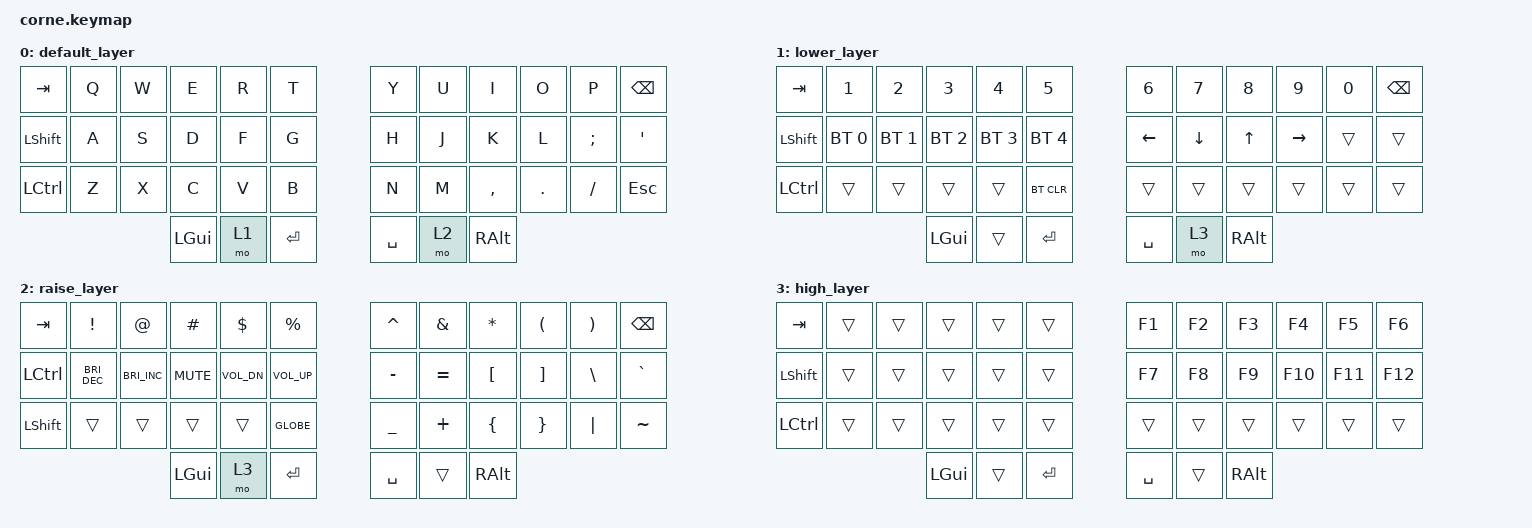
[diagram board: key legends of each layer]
/*
 * Copyright (c) 2020 The ZMK Contributors
 *
 * SPDX-License-Identifier: MIT
 */

#include <behaviors.dtsi>
#include <dt-bindings/zmk/bt.h>
#include <dt-bindings/zmk/keys.h>

/ {
    keymap {
        compatible = "zmk,keymap";

        default_layer {
            // -----------------------------------------------------------------------------------------
            // |  TAB |  Q  |  W  |  E  |  R  |  T  |   |  Y  |  U   |  I  |  O  |  P  | BKSP |
            // | CTRL |  A  |  S  |  D  |  F  |  G  |   |  H  |  J   |  K  |  L  |  ;  |  '   |
            // | SHFT |  Z  |  X  |  C  |  V  |  B  |   |  N  |  M   |  ,  |  .  |  /  | ESC  |
            //                    | GUI | LWR | SPC |   | ENT | RSE  | ALT |

            bindings = <
&kp TAB    &kp Q  &kp W  &kp E     &kp R  &kp T        &kp Y      &kp U  &kp I      &kp O    &kp P     &kp BSPC
&kp LSHFT  &kp A  &kp S  &kp D     &kp F  &kp G        &kp H      &kp J  &kp K      &kp L    &kp SEMI  &kp SQT
&kp LCTRL  &kp Z  &kp X  &kp C     &kp V  &kp B        &kp N      &kp M  &kp COMMA  &kp DOT  &kp FSLH  &kp ESC
                         &kp LGUI  &mo 1  &kp ENTER    &kp SPACE  &mo 2  &kp RALT
            >;
        };

        lower_layer {
            // -----------------------------------------------------------------------------------------
            // |  TAB |  1  |  2  |  3  |  4  |  5  |   |  6  |  7  |  8  |  9  |  0  | BKSP |
            // | BTCLR| BT1 | BT2 | BT3 | BT4 | BT5 |   | LFT | DWN |  UP | RGT |     |      |
            // | SHFT |     |     |     |     |     |   |     |     |     |     |     |      |
            //                    | GUI |     | SPC |   | ENT |     | ALT |

            bindings = <
&kp TAB    &kp N1        &kp N2        &kp N3        &kp N4        &kp N5          &kp N6     &kp N7    &kp N8    &kp N9     &kp N0  &kp BSPC
&kp LSHFT  &bt BT_SEL 0  &bt BT_SEL 1  &bt BT_SEL 2  &bt BT_SEL 3  &bt BT_SEL 4    &kp LEFT   &kp DOWN  &kp UP    &kp RIGHT  &trans  &trans
&kp LCTRL  &trans        &trans        &trans        &trans        &bt BT_CLR      &trans     &trans    &trans    &trans     &trans  &trans
                                       &kp LGUI      &trans        &kp ENTER       &kp SPACE  &mo 3     &kp RALT
            >;
        };

        raise_layer {
            // -----------------------------------------------------------------------------------------
            // |  TAB |  !  |  @  |  #  |  $  |  %  |   |  ^  |  &  |  *  |  (  |  )  | BKSP |
            // | CTRL |     |     |     |     |     |   |  -  |  =  |  [  |  ]  |  \  |  `   |
            // | SHFT |     |     |     |     |     |   |  _  |  +  |  {  |  }  | "|" |  ~   |
            //                    | GUI |     | SPC |   | ENT |     | ALT |

            bindings = <
&kp TAB    &kp EXCL              &kp AT                &kp HASH    &kp DLLR      &kp PRCNT       &kp CARET  &kp AMPS   &kp ASTRK  &kp LPAR  &kp RPAR  &kp BSPC
&kp LCTRL  &kp C_BRIGHTNESS_DEC  &kp C_BRIGHTNESS_INC  &kp C_MUTE  &kp C_VOL_DN  &kp C_VOL_UP    &kp MINUS  &kp EQUAL  &kp LBKT   &kp RBKT  &kp BSLH  &kp GRAVE
&kp LSHFT  &trans                &trans                &trans      &trans        &kp GLOBE       &kp UNDER  &kp PLUS   &kp LBRC   &kp RBRC  &kp PIPE  &kp TILDE
                                                       &kp LGUI    &mo 3         &kp ENTER       &kp SPACE  &trans     &kp RALT
            >;
        };

        high_layer {
            bindings = <
&kp TAB    &trans  &trans  &trans    &trans  &trans       &kp F1     &kp F2  &kp F3    &kp F4   &kp F5   &kp F6
&kp LSHFT  &trans  &trans  &trans    &trans  &trans       &kp F7     &kp F8  &kp F9    &kp F10  &kp F11  &kp F12
&kp LCTRL  &trans  &trans  &trans    &trans  &trans       &trans     &trans  &trans    &trans   &trans   &trans
                           &kp LGUI  &trans  &kp ENTER    &kp SPACE  &trans  &kp RALT
            >;
        };
    };
};
